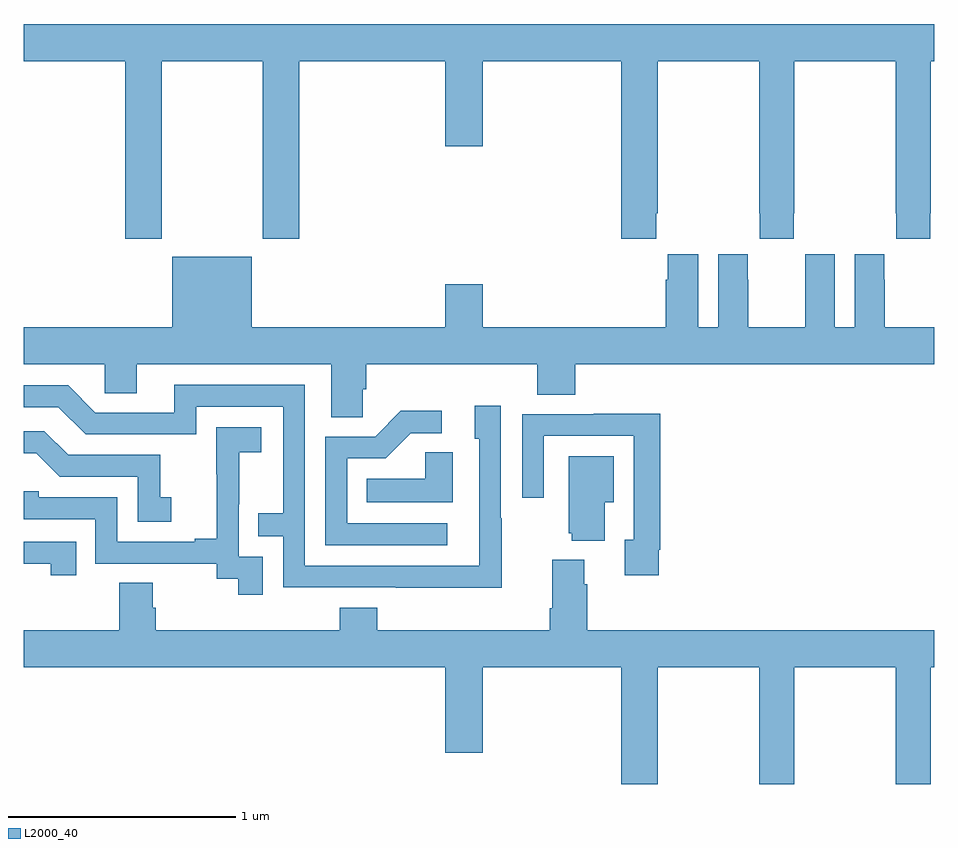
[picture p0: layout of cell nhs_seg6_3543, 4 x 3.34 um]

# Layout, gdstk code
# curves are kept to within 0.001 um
import gdstk
lib = gdstk.Library(unit=1e-6, precision=1e-09)
def P(c, l, *ps):  # polygons
    for p in ps: c.add(gdstk.Polygon(p, *l))
L2000_40 = (2000, 40)

nhs_seg6_3543 = lib.new_cell('nhs_seg6_3543')
P(nhs_seg6_3543, L2000_40, [(319.605,940.676),(320.05,940.676),(320.05,939.897),(320.21,939.897),(320.21,940.676),(320.852,940.676),(320.852,940.302),(321.016,940.302),(321.016,940.676),(321.626,940.676),(321.626,939.897),(321.779,939.897),(321.779,940.009),(321.786,940.009),(321.786,940.676),(322.231,940.676),(322.231,940.009),(322.233,940.009),(322.233,939.897),(322.383,939.897),(322.383,940.009),(322.386,940.009),(322.386,940.676),(322.831,940.676),(322.831,940.009),(322.833,940.009),(322.833,939.897),(322.983,939.897),(322.983,940.009),(322.986,940.009),(322.986,940.676),(323,940.676),(323,940.84),(319,940.84),(319,940.676),(319.445,940.676),(319.445,939.897),(319.605,939.897)],
  [(323,939.508),(322.783,939.508),(322.783,939.716),(322.782,939.716),(322.782,939.829),(322.652,939.829),(322.652,939.508),(322.564,939.508),(322.564,939.829),(322.434,939.829),(322.434,939.716),(322.433,939.716),(322.433,939.508),(322.183,939.508),(322.183,939.716),(322.182,939.716),(322.182,939.829),(322.052,939.829),(322.052,939.508),(321.964,939.508),(321.964,939.829),(321.83,939.829),(321.83,939.716),(321.821,939.716),(321.821,939.508),(321.016,939.508),(321.016,939.697),(320.852,939.697),(320.852,939.508),(320.002,939.508),(320.002,939.817),(319.652,939.817),(319.652,939.508),(319,939.508),(319,939.344),(319.356,939.344),(319.356,939.217),(319.495,939.217),(319.495,939.344),(320.351,939.344),(320.351,939.112),(320.49,939.112),(320.49,939.235),(320.504,939.235),(320.504,939.344),(321.257,939.344),(321.257,939.211),(321.422,939.211),(321.422,939.344),(323,939.344)],
  [(321.099,938.669),(321.096,938.669),(321.096,939.163),(320.981,939.163),(320.981,939.018),(321,939.018),(321,938.46),(320.235,938.46),(320.235,939.255),(319.661,939.255),(319.661,939.132),(319.314,939.132),(319.194,939.252),(319,939.252),(319,939.156),(319.152,939.156),(319.272,939.036),(319.758,939.036),(319.758,939.159),(320.139,939.159),(320.139,938.69),(320.029,938.69),(320.029,938.589),(320.139,938.589),(320.139,938.364),(321.099,938.363)],
  [(320.86,938.646),(320.421,938.646),(320.421,938.931),(320.59,938.931),(320.701,939.042),(320.836,939.042),(320.836,939.14),(320.657,939.14),(320.544,939.027),(320.325,939.027),(320.325,938.55),(320.86,938.55)],
  [(321.79,938.53),(321.797,938.53),(321.797,939.128),(321.505,939.128),(321.505,939.126),(321.189,939.126),(321.189,938.757),(321.285,938.757),(321.285,939.03),(321.681,939.03),(321.681,938.574),(321.641,938.574),(321.641,938.418),(321.79,938.418)],
  [(320.049,938.499),(319.944,938.499),(319.944,938.729),(319.946,938.729),(319.946,938.957),(320.044,938.957),(320.044,939.067),(319.846,939.067),(319.846,938.861),(319.847,938.861),(319.847,938.578),(319.751,938.578),(319.751,938.565),(319.41,938.565),(319.41,938.76),(319.065,938.76),(319.065,938.787),(319,938.787),(319,938.664),(319.314,938.664),(319.314,938.469),(319.848,938.469),(319.848,938.401),(319.941,938.401),(319.941,938.331),(320.049,938.331)],
  [(319.648,938.761),(319.599,938.761),(319.599,938.946),(319.195,938.946),(319.09,939.051),(319,939.051),(319,938.954),(319.054,938.954),(319.158,938.85),(319.5,938.85),(319.5,938.652),(319.648,938.652)],
  [(320.884,938.957),(320.763,938.957),(320.763,938.842),(320.506,938.842),(320.506,938.738),(320.884,938.738)],
  [(321.553,938.738),(321.592,938.738),(321.592,938.941),(321.395,938.941),(321.395,938.601),(321.407,938.601),(321.407,938.57),(321.553,938.57)],
  [(319.229,938.565),(319,938.565),(319,938.469),(319.118,938.469),(319.118,938.418),(319.229,938.418)],
  [(321.476,938.378),(321.463,938.378),(321.463,938.485),(321.323,938.485),(321.323,938.272),(321.311,938.272),(321.311,938.176),(320.552,938.176),(320.552,938.275),(320.387,938.275),(320.387,938.176),(319.58,938.176),(319.58,938.274),(319.567,938.274),(319.567,938.384),(319.42,938.384),(319.42,938.176),(319,938.176),(319,938.012),(320.852,938.012),(320.852,937.638),(321.016,937.638),(321.016,938.012),(321.626,938.012),(321.626,937.5),(321.786,937.5),(321.786,938.012),(322.231,938.012),(322.231,937.5),(322.386,937.5),(322.386,938.012),(322.831,938.012),(322.831,937.5),(322.986,937.5),(322.986,938.012),(323,938.012),(323,938.176),(321.476,938.176)])

lib.write_gds('nhs_seg6_3543.gds')
